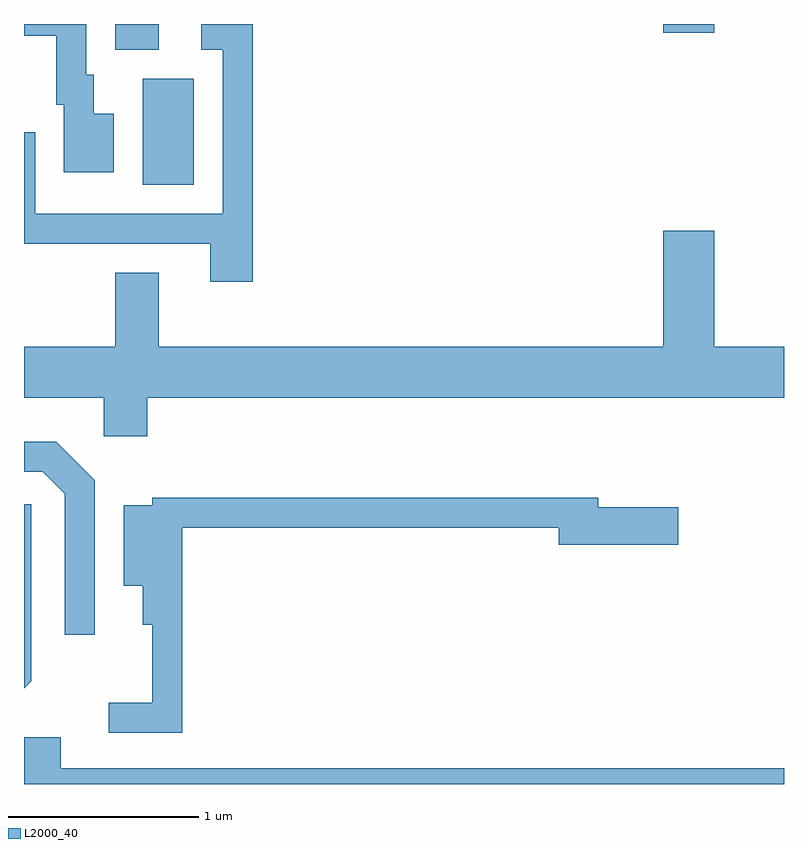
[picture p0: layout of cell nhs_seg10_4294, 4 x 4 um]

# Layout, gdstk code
import gdstk
lib = gdstk.Library(unit=1e-6, precision=1e-09)
def R(c, l, rs):  # rectangles x0, y0, x1, y1
    for r in rs: c.add(gdstk.rectangle(r[:2], r[2:], *l))
def P(c, l, *ps):  # polygons
    for p in ps: c.add(gdstk.Polygon(p, *l))
L2000_40 = (2000, 40)

nhs_seg10_4294 = lib.new_cell('nhs_seg10_4294')
R(nhs_seg10_4294, L2000_40, [(312.236,2141.676,312.504,2142.234), (312.091,2142.386,312.319,2142.522), (314.976,2142.476,315.244,2142.522)])
P(nhs_seg10_4294, L2000_40, [(312.814,2142.522),(312.543,2142.522),(312.543,2142.386),(312.656,2142.386),(312.656,2141.524),(311.669,2141.524),(311.669,2141.953),(311.611,2141.953),(311.611,2141.366),(312.591,2141.366),(312.591,2141.166),(312.814,2141.166)],
  [(312.084,2142.049),(311.979,2142.049),(311.979,2142.254),(311.939,2142.254),(311.939,2142.522),(311.611,2142.522),(311.611,2142.461),(311.781,2142.461),(311.781,2142.096),(311.821,2142.096),(311.821,2141.741),(312.084,2141.741)],
  [(312.259,2140.556),(315.611,2140.556),(315.611,2140.824),(315.244,2140.824),(315.244,2141.434),(314.976,2141.434),(314.976,2140.824),(312.319,2140.824),(312.319,2141.214),(312.091,2141.214),(312.091,2140.824),(311.611,2140.824),(311.611,2140.556),(312.031,2140.556),(312.031,2140.351),(312.259,2140.351)],
  [(311.984,2140.122),(311.782,2140.324),(311.611,2140.324),(311.611,2140.166),(311.709,2140.166),(311.826,2140.049),(311.826,2139.308),(311.984,2139.308)],
  [(312.444,2139.871),(314.426,2139.871),(314.426,2139.781),(315.054,2139.781),(315.054,2139.979),(314.634,2139.979),(314.634,2140.029),(312.286,2140.029),(312.286,2139.989),(312.136,2139.989),(312.136,2139.566),(312.236,2139.566),(312.236,2139.361),(312.286,2139.361),(312.286,2138.949),(312.058,2138.949),(312.058,2138.791),(312.444,2138.791)],
  [(311.649,2139.064),(311.649,2139.994),(311.611,2139.994),(311.611,2139.026)],
  [(311.804,2138.769),(311.611,2138.769),(311.611,2138.522),(315.611,2138.522),(315.611,2138.604),(311.804,2138.604)])

lib.write_gds('nhs_seg10_4294.gds')
